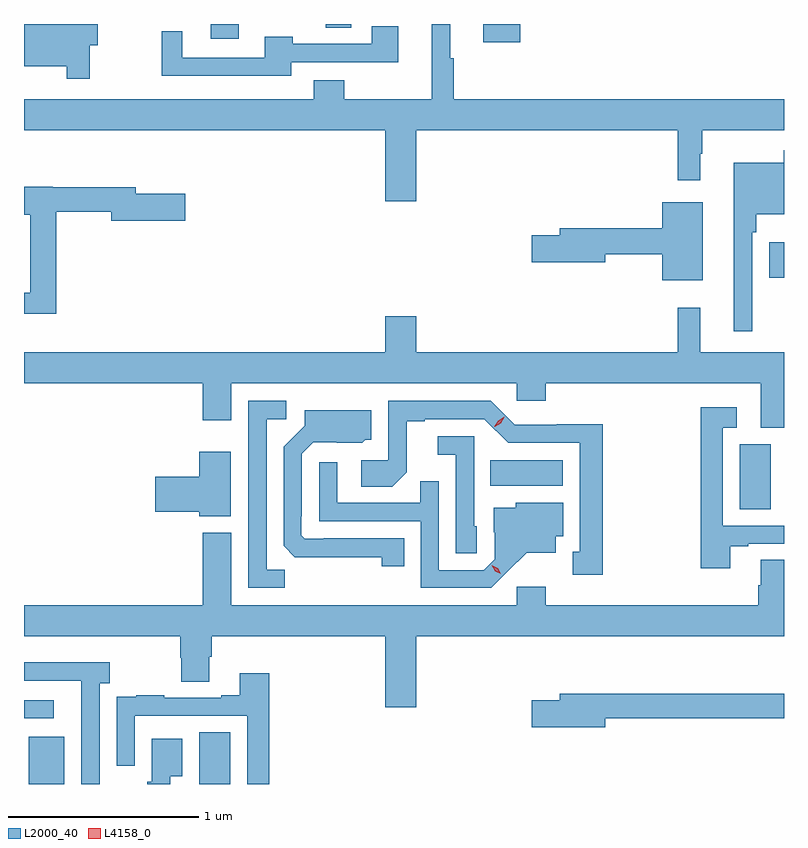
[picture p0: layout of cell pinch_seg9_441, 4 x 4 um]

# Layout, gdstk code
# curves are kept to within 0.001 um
import gdstk
lib = gdstk.Library(unit=1e-6, precision=1e-09)
def R(c, l, rs):  # rectangles x0, y0, x1, y1
    for r in rs: c.add(gdstk.rectangle(r[:2], r[2:], *l))
def P(c, l, *ps):  # polygons
    for p in ps: c.add(gdstk.Polygon(p, *l))
L2000_40 = (2000, 40)
L4158_0 = (4158, 0)

pinch_seg9_441 = lib.new_cell('pinch_seg9_441')
R(pinch_seg9_441, L2000_40, [(247.049,1179.659,247.237,1179.907), (247.946,1179.659,248.11,1179.932), (247.024,1180.005,247.18,1180.101), (250.79,1181.104,250.954,1181.448), (249.478,1181.228,249.859,1181.362), (250.946,1182.323,251.024,1182.511), (249.441,1183.562,249.635,1183.659), (248.007,1183.581,248.155,1183.659), (248.612,1183.639,248.746,1183.659)])
P(pinch_seg9_441, L2000_40, [(247.369,1183.547),(247.411,1183.547),(247.411,1183.659),(247.024,1183.659),(247.024,1183.436),(247.248,1183.436),(247.248,1183.371),(247.369,1183.371)],
  [(249.088,1183.1),(250.465,1183.1),(250.465,1182.837),(250.582,1182.837),(250.582,1182.977),(250.594,1182.977),(250.594,1183.1),(251.024,1183.1),(251.024,1183.264),(249.287,1183.264),(249.287,1183.479),(249.268,1183.479),(249.268,1183.659),(249.17,1183.659),(249.17,1183.264),(248.709,1183.264),(248.709,1183.363),(248.549,1183.363),(248.549,1183.264),(247.024,1183.264),(247.024,1183.1),(248.924,1183.1),(248.924,1182.726),(249.088,1182.726)],
  [(248.431,1183.458),(248.995,1183.458),(248.995,1183.648),(248.855,1183.648),(248.855,1183.554),(248.439,1183.554),(248.439,1183.591),(248.291,1183.591),(248.291,1183.482),(247.858,1183.482),(247.858,1183.621),(247.749,1183.621),(247.749,1183.386),(248.431,1183.386)],
  [(250.857,1182.563),(250.877,1182.563),(250.877,1182.659),(251.024,1182.659),(251.024,1182.994),(251.022,1182.994),(251.022,1182.928),(250.76,1182.928),(250.76,1182.042),(250.857,1182.042)],
  [(247.193,1182.67),(247.484,1182.67),(247.484,1182.623),(247.873,1182.623),(247.873,1182.765),(247.612,1182.765),(247.612,1182.799),(247.176,1182.799),(247.176,1182.802),(247.024,1182.802),(247.024,1182.655),(247.058,1182.655),(247.058,1182.244),(247.024,1182.244),(247.024,1182.134),(247.193,1182.134)],
  [(250.597,1182.721),(250.382,1182.721),(250.382,1182.584),(249.845,1182.584),(249.845,1182.548),(249.696,1182.548),(249.696,1182.406),(250.084,1182.406),(250.084,1182.448),(250.382,1182.448),(250.382,1182.311),(250.597,1182.311)],
  [(251.024,1181.932),(250.583,1181.932),(250.583,1182.166),(250.465,1182.166),(250.465,1181.932),(249.088,1181.932),(249.088,1182.121),(248.924,1182.121),(248.924,1181.932),(247.024,1181.932),(247.024,1181.768),(247.964,1181.768),(247.964,1181.574),(248.116,1181.574),(248.116,1181.768),(249.618,1181.768),(249.618,1181.675),(249.77,1181.675),(249.77,1181.768),(250.901,1181.768),(250.901,1181.533),(251.024,1181.533)],
  [(250.069,1181.552),(249.828,1181.552),(249.828,1181.55),(249.606,1181.55),(249.48,1181.676),(248.94,1181.676),(248.94,1181.364),(248.799,1181.364),(248.799,1181.224),(248.963,1181.224),(249.039,1181.3),(249.039,1181.568),(249.133,1181.568),(249.133,1181.58),(249.447,1181.58),(249.573,1181.454),(249.95,1181.454),(249.95,1180.881),(249.911,1180.881),(249.911,1180.761),(250.069,1180.761)],
  [(248.397,1180.787),(248.301,1180.787),(248.301,1181.58),(248.404,1181.58),(248.404,1181.676),(248.205,1181.676),(248.205,1180.692),(248.397,1180.692)],
  [(250.741,1180.911),(250.837,1180.911),(250.837,1180.923),(251.024,1180.923),(251.024,1181.019),(250.701,1181.019),(250.701,1181.535),(250.774,1181.535),(250.774,1181.641),(250.585,1181.641),(250.585,1180.794),(250.741,1180.794)],
  [(249.026,1180.953),(248.602,1180.953),(248.602,1180.95),(248.502,1180.95),(248.484,1180.968),(248.484,1181.068),(248.487,1181.068),(248.487,1181.397),(248.547,1181.457),(248.804,1181.456),(248.82,1181.472),(248.851,1181.472),(248.851,1181.626),(248.501,1181.626),(248.501,1181.544),(248.391,1181.434),(248.391,1180.912),(248.45,1180.853),(248.908,1180.852),(248.908,1180.806),(249.026,1180.806)],
  [(249.408,1181.016),(249.393,1181.016),(249.393,1181.49),(249.201,1181.49),(249.201,1181.393),(249.297,1181.393),(249.297,1180.873),(249.408,1180.873)],
  [(248.113,1181.407),(247.946,1181.407),(247.946,1181.276),(247.716,1181.276),(247.716,1181.093),(247.946,1181.093),(247.946,1181.069),(248.113,1181.069)],
  [(249.568,1180.775),(249.671,1180.877),(249.823,1180.877),(249.823,1180.964),(249.862,1180.964),(249.862,1181.14),(249.612,1181.14),(249.612,1181.113),(249.497,1181.113),(249.497,1180.984),(249.501,1180.984),(249.501,1180.842),(249.444,1180.785),(249.207,1180.785),(249.207,1181.252),(249.109,1181.252),(249.109,1181.139),(248.673,1181.139),(248.673,1181.353),(248.577,1181.353),(248.577,1181.043),(249.111,1181.043),(249.111,1180.692),(249.484,1180.692)],
  [(249.088,1180.436),(251.024,1180.436),(251.024,1180.838),(250.901,1180.838),(250.901,1180.706),(250.889,1180.706),(250.889,1180.6),(249.77,1180.6),(249.77,1180.696),(249.618,1180.696),(249.618,1180.6),(248.116,1180.6),(248.116,1180.981),(247.964,1180.981),(247.964,1180.6),(247.024,1180.6),(247.024,1180.436),(247.847,1180.436),(247.847,1180.323),(247.852,1180.323),(247.852,1180.198),(247.999,1180.198),(247.999,1180.33),(248.012,1180.33),(248.012,1180.436),(248.924,1180.436),(248.924,1180.062),(249.088,1180.062)],
  [(247.422,1180.19),(247.474,1180.19),(247.474,1180.3),(247.024,1180.3),(247.024,1180.203),(247.325,1180.203),(247.325,1180.003),(247.326,1180.003),(247.326,1179.659),(247.422,1179.659)],
  [(248.315,1180.243),(248.159,1180.243),(248.159,1180.126),(248.063,1180.126),(248.063,1180.113),(247.763,1180.113),(247.763,1180.126),(247.615,1180.126),(247.615,1180.119),(247.513,1180.119),(247.513,1180.01),(247.512,1180.01),(247.512,1179.756),(247.608,1179.756),(247.608,1180.017),(248.199,1180.017),(248.199,1179.659),(248.315,1179.659)],
  [(250.084,1180.006),(251.024,1180.006),(251.024,1180.135),(249.845,1180.135),(249.845,1180.101),(249.696,1180.101),(249.696,1179.959),(250.084,1179.959)],
  [(247.795,1179.701),(247.858,1179.701),(247.858,1179.898),(247.697,1179.898),(247.697,1179.672),(247.673,1179.672),(247.673,1179.659),(247.795,1179.659)])
P(pinch_seg9_441, L4158_0, [(249.5,1181.54),(249.5,1181.54),(249.519,1181.572),(249.551,1181.591),(249.551,1181.591),(249.551,1181.59),(249.533,1181.558),(249.501,1181.54)],
  [(249.533,1180.765),(249.503,1180.78),(249.486,1180.81),(249.486,1180.81),(249.486,1180.81),(249.517,1180.795),(249.534,1180.765),(249.534,1180.765)])

lib.write_gds('pinch_seg9_441.gds')
